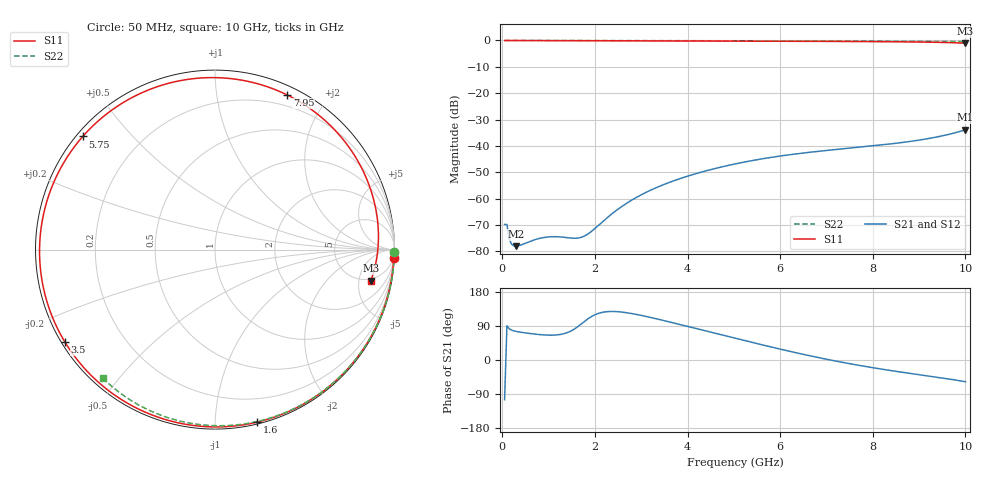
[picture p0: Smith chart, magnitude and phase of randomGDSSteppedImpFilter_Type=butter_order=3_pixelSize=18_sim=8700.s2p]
! freq	dB(S11)	phase(S11)	dB(S12)	phase(S12)
!  dB(S21)	phase(S21)	dB(S22)	phase(S22)
!S-par simulation data
#  GHz  S  DB  R 50
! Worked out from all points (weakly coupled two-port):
!   200 points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, 50 MHz to 10 GHz, reference 50 ohm
!   highest |S21| = -33.89 dB at 10 GHz (marker M1); lowest = -78.1 dB at 300 MHz (marker M2)
!   lowest |S11| = -1.1 dB at 10 GHz (marker M3), VSWR 16.45, Z = 229 - j366 ohm
!   |S11| at or under -10 dB: nowhere
!   |S22| runs from -0.4 to 0.0 dB; largest |S21 - S12| = 0
!   S11 on the Smith chart (normalised r, x): 50 MHz: 3, -44; 1.6 GHz: 0.01, -1.27; 3.5 GHz: 0.01, -0.28; 5.75 GHz: 0.02, +0.37; 7.95 GHz: 0.09, +1.57; 10 GHz: 4.59, -7.33
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0.05  -0.03 -2.6  -69.82 -105.1  -69.82 -105.1  -0.01 -0.8
0.1  -0.03 -5.1  -69.83 90.3  -69.83 90.3  -0.01 -1.5
0.15  -0.03 -7.6  -75.41 82.3  -75.41 82.3  -0.01 -2.3
0.2  -0.03 -10.1  -77.30 78.9  -77.30 78.9  -0.01 -3.0
0.3  -0.03 -15.1  -78.07 75.3  -78.07 75.3  -0.01 -4.5
0.65  -0.04 -32.4  -75.91 69.1  -75.91 69.1  -0.01 -9.8
1  -0.06 -49.2  -74.55 65.6  -74.55 65.6  -0.02 -15.1
1.6  -0.09 -76.4  -75.04 85.3  -75.04 85.3  -0.03 -24.0
1.75  -0.10 -82.8  -74.41 99.3  -74.41 99.3  -0.03 -26.2
2.5  -0.13 -112.9  -64.02 127.4  -64.02 127.4  -0.05 -37.1
3.4  -0.15 -145.1  -55.30 106.6  -55.30 106.6  -0.07 -49.8
3.5  -0.16 -148.5  -54.59 103.7  -54.59 103.7  -0.07 -51.2
4.25  -0.19 -173.0  -50.19 81.1  -50.19 81.1  -0.09 -61.5
5.05  -0.23 161.6  -46.77 56.8  -46.77 56.8  -0.11 -72.1
5.75  -0.27 139.4  -44.53 35.9  -44.53 35.9  -0.14 -81.1
6.7  -0.33 108.3  -42.31 9.6  -42.31 9.6  -0.18 -92.9
7.35  -0.38 86.1  -41.14 -6.3  -41.14 -6.3  -0.22 -100.8
7.95  -0.44 64.9  -40.10 -19.3  -40.10 -19.3  -0.26 -107.8
8.35  -0.49 50.5  -39.34 -27.1  -39.34 -27.1  -0.29 -112.5
9.2  -0.65 19.3  -37.24 -42.3  -37.24 -42.3  -0.36 -122.2
9.6  -0.79 4.3  -35.81 -49.3  -35.81 -49.3  -0.40 -126.7
10  -1.06 -11.2  -33.89 -57.2  -33.89 -57.2  -0.45 -131.2
